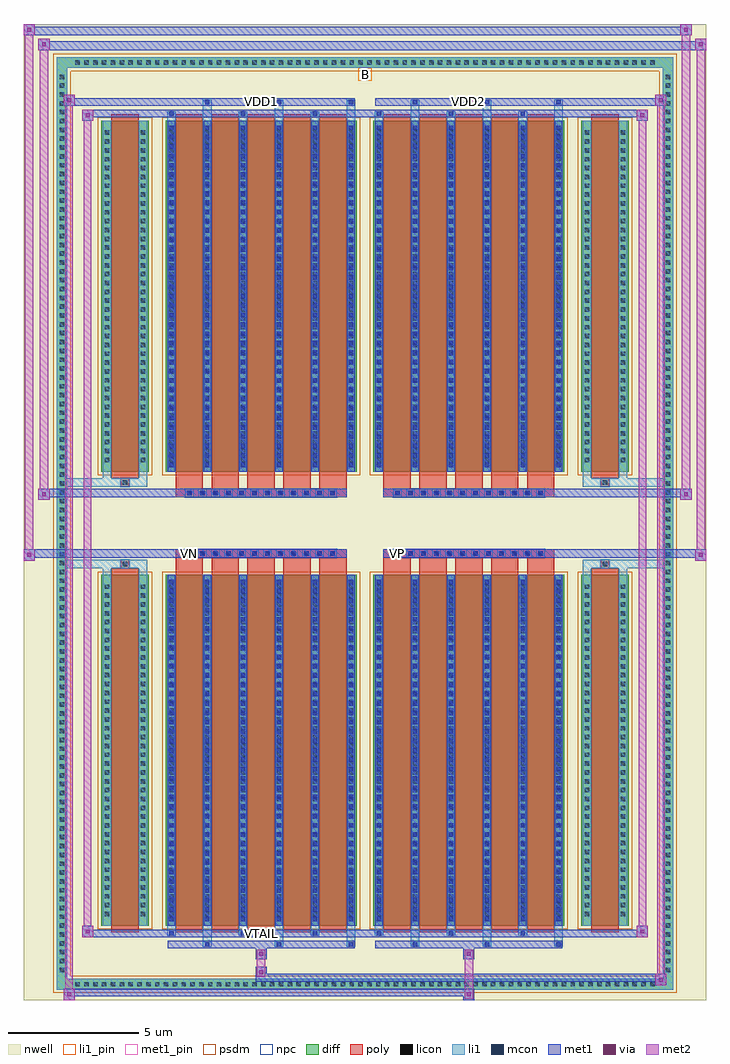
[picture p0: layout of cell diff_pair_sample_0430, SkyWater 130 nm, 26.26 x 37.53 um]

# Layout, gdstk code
import gdstk
lib = gdstk.Library(unit=1e-6, precision=5e-09)
def R(c, l, rs):  # rectangles x0, y0, x1, y1
    for r in rs: c.add(gdstk.rectangle(r[:2], r[2:], *l))
def A(c, l, x, y, w, h, nx, ny, dx, dy):  # array of equal rectangles
    R(c, l, [(x+i*dx, y+j*dy, x+i*dx+w, y+j*dy+h) for i in range(nx) for j in range(ny)])
def P(c, l, *ps):  # polygons
    for p in ps: c.add(gdstk.Polygon(p, *l))
nwell = (64, 20)
diff = (65, 20)
poly = (66, 20)
licon = (66, 44)
li1_pin = (67, 16)
li1 = (67, 20)
mcon = (67, 44)
met1_pin = (68, 16)
met1 = (68, 20)
via = (68, 44)
met2 = (69, 20)
psdm = (94, 20)
npc = (95, 20)

diff_pair_sample_0430 = lib.new_cell('diff_pair_sample_0430')
R(diff_pair_sample_0430, nwell, [(-13.13,-18.33,13.13,19.2), (-10.45,-16.52,-0.01,-0.8), (0.01,-16.52,10.45,-0.8), (-10.45,0.8,-0.01,16.52), (0.01,0.8,10.45,16.52)])
A(diff_pair_sample_0430, diff, -11.255, -17.93, 0.41, 0.41, 66, 2, 0.34, 35.45)
A(diff_pair_sample_0430, diff, -11.86, -17.375, 0.41, 0.41, 1, 102, 0, 0.34)
A(diff_pair_sample_0430, diff, 11.45, -17.375, 0.41, 0.41, 1, 102, 0, 0.34)
R(diff_pair_sample_0430, diff, [(-11.255,-17.93,11.255,-17.52), (-11.86,-17.375,-11.45,17.375), (11.45,-17.375,11.86,17.375), (-10.14,-15.475,-8.31,-1.985), (-7.67,-15.475,-0.32,-1.985), (0.32,-15.475,7.67,-1.985), (8.31,-15.475,10.14,-1.985), (-10.14,1.985,-8.31,15.475), (-7.67,1.985,-0.32,15.475), (0.32,1.985,7.67,15.475), (8.31,1.985,10.14,15.475), (-11.255,17.52,11.255,17.93)])
P(diff_pair_sample_0430, diff, [(11.86,17.93),(-11.86,17.93),(-11.86,-17.52),(-11.45,-17.52),(-11.45,17.52),(11.45,17.52),(11.45,-17.52),(-11.45,-17.52),(-11.86,-17.52),(-11.86,-17.93),(11.86,-17.93)])
A(diff_pair_sample_0430, poly, -7.28, -15.725, 1.05, 13.99, 5, 2, 1.38, 17.46)
A(diff_pair_sample_0430, poly, 0.71, -15.725, 1.05, 13.99, 5, 2, 1.38, 17.46)
A(diff_pair_sample_0430, poly, -7.28, -1.735, 1.05, 0.405, 5, 2, 1.38, 3.065)
A(diff_pair_sample_0430, poly, 0.71, -1.735, 1.05, 0.405, 5, 2, 1.38, 3.065)
A(diff_pair_sample_0430, poly, -6.91, -1.33, 0.33, 0.33, 12, 2, 0.5, 2.33)
A(diff_pair_sample_0430, poly, 1.08, -1.33, 0.33, 0.33, 12, 2, 0.5, 2.33)
R(diff_pair_sample_0430, poly, [(-9.75,-15.725,-8.7,-1.735), (8.7,-15.725,9.75,-1.735), (-9.39,-1.735,-9.06,-1.405), (-9.39,-1.735,-9.06,-1.405), (9.06,-1.735,9.39,-1.405), (9.06,-1.735,9.39,-1.405), (-7.28,-1.33,-0.71,-1), (0.71,-1.33,7.28,-1), (-7.28,1,-0.71,1.33), (0.71,1,7.28,1.33), (-9.39,1.405,-9.06,1.735), (-9.39,1.405,-9.06,1.735), (9.06,1.405,9.39,1.735), (9.06,1.405,9.39,1.735), (-9.75,1.735,-8.7,15.725), (8.7,1.735,9.75,15.725)])
A(diff_pair_sample_0430, licon, -11.135, -17.81, 0.17, 0.17, 66, 2, 0.34, 35.45)
A(diff_pair_sample_0430, licon, -11.74, -17.255, 0.17, 0.17, 1, 102, 0, 0.34)
A(diff_pair_sample_0430, licon, 11.57, -17.255, 0.17, 0.17, 1, 102, 0, 0.34)
A(diff_pair_sample_0430, licon, -10, -15.105, 0.17, 0.17, 1, 38, 0, 0.34)
A(diff_pair_sample_0430, licon, -8.62, -15.105, 0.17, 0.17, 1, 38, 0, 0.34)
A(diff_pair_sample_0430, licon, -7.53, -15.105, 0.17, 0.17, 6, 38, 1.38, 0.34)
A(diff_pair_sample_0430, licon, 0.46, -15.105, 0.17, 0.17, 6, 38, 1.38, 0.34)
A(diff_pair_sample_0430, licon, 8.45, -15.105, 0.17, 0.17, 1, 38, 0, 0.34)
A(diff_pair_sample_0430, licon, 9.83, -15.105, 0.17, 0.17, 1, 38, 0, 0.34)
A(diff_pair_sample_0430, licon, -6.83, -1.25, 0.17, 0.17, 12, 2, 0.5, 2.33)
A(diff_pair_sample_0430, licon, 1.16, -1.25, 0.17, 0.17, 12, 2, 0.5, 2.33)
A(diff_pair_sample_0430, licon, -10, 2.355, 0.17, 0.17, 1, 38, 0, 0.34)
A(diff_pair_sample_0430, licon, -8.62, 2.355, 0.17, 0.17, 1, 38, 0, 0.34)
A(diff_pair_sample_0430, licon, -7.53, 2.355, 0.17, 0.17, 6, 38, 1.38, 0.34)
A(diff_pair_sample_0430, licon, 0.46, 2.355, 0.17, 0.17, 6, 38, 1.38, 0.34)
A(diff_pair_sample_0430, licon, 8.45, 2.355, 0.17, 0.17, 1, 38, 0, 0.34)
A(diff_pair_sample_0430, licon, 9.83, 2.355, 0.17, 0.17, 1, 38, 0, 0.34)
R(diff_pair_sample_0430, licon, [(-9.31,-1.655,-9.14,-1.485), (9.14,-1.655,9.31,-1.485), (-9.31,1.485,-9.14,1.655), (9.14,1.485,9.31,1.655)])
R(diff_pair_sample_0430, li1_pin, [(-0.25,17.02,0.25,17.52)])
A(diff_pair_sample_0430, li1, -11.215, -17.89, 0.33, 0.33, 66, 2, 0.34, 35.45)
A(diff_pair_sample_0430, li1, -11.82, -17.335, 0.33, 0.33, 1, 102, 0, 0.34)
A(diff_pair_sample_0430, li1, 11.49, -17.335, 0.33, 0.33, 1, 102, 0, 0.34)
A(diff_pair_sample_0430, li1, -6.23, -16.28, 0.33, 0.805, 3, 2, 2.76, 31.755)
A(diff_pair_sample_0430, li1, -6.15, -16.28, 0.17, 0.17, 3, 2, 2.76, 32.39)
A(diff_pair_sample_0430, li1, 1.76, -16.28, 0.33, 0.805, 3, 2, 2.76, 31.755)
A(diff_pair_sample_0430, li1, 1.84, -16.28, 0.17, 0.17, 3, 2, 2.76, 32.39)
A(diff_pair_sample_0430, li1, -7.61, -15.85, 0.33, 0.375, 3, 2, 2.76, 31.325)
A(diff_pair_sample_0430, li1, -7.53, -15.85, 0.17, 0.17, 3, 2, 2.76, 31.53)
A(diff_pair_sample_0430, li1, 0.38, -15.85, 0.33, 0.375, 3, 2, 2.76, 31.325)
A(diff_pair_sample_0430, li1, 0.46, -15.85, 0.17, 0.17, 3, 2, 2.76, 31.53)
A(diff_pair_sample_0430, li1, -7.61, -15.475, 0.33, 13.49, 6, 2, 1.38, 17.46)
A(diff_pair_sample_0430, li1, 0.38, -15.475, 0.33, 13.49, 6, 2, 1.38, 17.46)
A(diff_pair_sample_0430, li1, -7.53, -15.295, 0.17, 0.17, 6, 37, 1.38, 0.36)
A(diff_pair_sample_0430, li1, -7.53, -15.295, 0.17, 13.13, 6, 2, 1.38, 17.46)
A(diff_pair_sample_0430, li1, 0.46, -15.295, 0.17, 0.17, 6, 37, 1.38, 0.36)
A(diff_pair_sample_0430, li1, 0.46, -15.295, 0.17, 13.13, 6, 2, 1.38, 17.46)
A(diff_pair_sample_0430, li1, -10.08, -15.185, 0.33, 0.33, 1, 38, 0, 0.34)
A(diff_pair_sample_0430, li1, -8.7, -15.185, 0.33, 0.33, 1, 38, 0, 0.34)
A(diff_pair_sample_0430, li1, -7.61, -15.185, 0.33, 0.33, 6, 38, 1.38, 0.34)
A(diff_pair_sample_0430, li1, 0.38, -15.185, 0.33, 0.33, 6, 38, 1.38, 0.34)
A(diff_pair_sample_0430, li1, 8.37, -15.185, 0.33, 0.33, 1, 38, 0, 0.34)
A(diff_pair_sample_0430, li1, 9.75, -15.185, 0.33, 0.33, 1, 38, 0, 0.34)
A(diff_pair_sample_0430, li1, -6.91, -1.33, 0.33, 0.33, 12, 2, 0.5, 2.33)
A(diff_pair_sample_0430, li1, 1.08, -1.33, 0.33, 0.33, 12, 2, 0.5, 2.33)
A(diff_pair_sample_0430, li1, -7.53, 2.165, 0.17, 0.17, 6, 37, 1.38, 0.36)
A(diff_pair_sample_0430, li1, 0.46, 2.165, 0.17, 0.17, 6, 37, 1.38, 0.36)
A(diff_pair_sample_0430, li1, -10.08, 2.275, 0.33, 0.33, 1, 38, 0, 0.34)
A(diff_pair_sample_0430, li1, -8.7, 2.275, 0.33, 0.33, 1, 38, 0, 0.34)
A(diff_pair_sample_0430, li1, -7.61, 2.275, 0.33, 0.33, 6, 38, 1.38, 0.34)
A(diff_pair_sample_0430, li1, 0.38, 2.275, 0.33, 0.33, 6, 38, 1.38, 0.34)
A(diff_pair_sample_0430, li1, 8.37, 2.275, 0.33, 0.33, 1, 38, 0, 0.34)
A(diff_pair_sample_0430, li1, 9.75, 2.275, 0.33, 0.33, 1, 38, 0, 0.34)
R(diff_pair_sample_0430, li1, [(-11.86,-17.93,-11.45,-17.52), (-11.86,-17.93,-11.45,-17.52), (-11.45,-17.93,11.45,-17.52), (11.45,-17.93,11.86,-17.52), (11.45,-17.93,11.86,-17.52), (-11.86,-17.52,-11.45,17.52), (11.45,-17.52,11.86,17.52), (-10.08,-15.475,-9.75,-1.985), (-8.7,-15.475,-8.37,-1.985), (8.37,-15.475,8.7,-1.985), (9.75,-15.475,10.08,-1.985), (-10.08,-1.985,-9.75,-1.405), (-8.7,-1.985,-8.37,-1.405), (8.37,-1.985,8.7,-1.405), (9.75,-1.985,10.08,-1.405), (-11.86,-1.735,-9.39,-1.405), (-10.08,-1.735,-9.39,-1.405), (-9.39,-1.735,-9.06,-1.405), (-9.06,-1.735,-8.37,-1.405), (8.37,-1.735,9.06,-1.405), (9.06,-1.735,9.39,-1.405), (9.06,-1.735,11.86,-1.405), (9.39,-1.735,10.08,-1.405), (-11.86,1.405,-9.39,1.735), (-10.08,1.405,-9.39,1.735), (-10.08,1.405,-9.75,1.985), (-9.39,1.405,-9.06,1.735), (-9.06,1.405,-8.37,1.735), (-8.7,1.405,-8.37,1.985), (8.37,1.405,9.06,1.735), (8.37,1.405,8.7,1.985), (9.06,1.405,9.39,1.735), (9.06,1.405,11.86,1.735), (9.39,1.405,10.08,1.735), (9.75,1.405,10.08,1.985), (-10.08,1.985,-9.75,15.475), (-8.7,1.985,-8.37,15.475), (8.37,1.985,8.7,15.475), (9.75,1.985,10.08,15.475), (-11.86,17.52,-11.45,17.93), (-11.86,17.52,-11.45,17.93), (-11.45,17.52,11.45,17.93), (11.45,17.52,11.86,17.93), (11.45,17.52,11.86,17.93)])
A(diff_pair_sample_0430, mcon, -6.15, -16.28, 0.17, 0.17, 3, 2, 2.76, 32.39)
A(diff_pair_sample_0430, mcon, 1.84, -16.28, 0.17, 0.17, 3, 2, 2.76, 32.39)
A(diff_pair_sample_0430, mcon, -7.53, -15.85, 0.17, 0.17, 3, 2, 2.76, 31.53)
A(diff_pair_sample_0430, mcon, 0.46, -15.85, 0.17, 0.17, 3, 2, 2.76, 31.53)
A(diff_pair_sample_0430, mcon, -7.53, -15.295, 0.17, 0.17, 6, 37, 1.38, 0.36)
A(diff_pair_sample_0430, mcon, 0.46, -15.295, 0.17, 0.17, 6, 37, 1.38, 0.36)
A(diff_pair_sample_0430, mcon, -6.83, -1.25, 0.17, 0.17, 12, 2, 0.5, 2.33)
A(diff_pair_sample_0430, mcon, 1.16, -1.25, 0.17, 0.17, 12, 2, 0.5, 2.33)
A(diff_pair_sample_0430, mcon, -7.53, 2.165, 0.17, 0.17, 6, 37, 1.38, 0.36)
A(diff_pair_sample_0430, mcon, 0.46, 2.165, 0.17, 0.17, 6, 37, 1.38, 0.36)
R(diff_pair_sample_0430, met1_pin, [(-4.13,-15.89,-3.86,-15.62), (-6.88,-1.29,-6.61,-1.02), (1.11,-1.29,1.38,-1.02), (-4.13,16.07,-3.86,16.34), (3.86,16.07,4.13,16.34)])
A(diff_pair_sample_0430, met1, -6.21, -16.34, 0.29, 0.29, 3, 2, 2.76, 32.39)
A(diff_pair_sample_0430, met1, 1.78, -16.34, 0.29, 0.29, 3, 2, 2.76, 32.39)
A(diff_pair_sample_0430, met1, -7.59, -15.91, 0.29, 0.29, 3, 2, 2.76, 31.53)
A(diff_pair_sample_0430, met1, 0.4, -15.91, 0.29, 0.29, 3, 2, 2.76, 31.53)
A(diff_pair_sample_0430, met1, -7.59, -15.475, 0.29, 13.49, 6, 2, 1.38, 17.46)
A(diff_pair_sample_0430, met1, 0.4, -15.475, 0.29, 13.49, 6, 2, 1.38, 17.46)
A(diff_pair_sample_0430, met1, -7.59, -15.355, 0.29, 0.29, 6, 37, 1.38, 0.36)
A(diff_pair_sample_0430, met1, 0.4, -15.355, 0.29, 0.29, 6, 37, 1.38, 0.36)
A(diff_pair_sample_0430, met1, -6.89, -1.31, 0.29, 0.29, 12, 2, 0.5, 2.33)
A(diff_pair_sample_0430, met1, 1.1, -1.31, 0.29, 0.29, 12, 2, 0.5, 2.33)
A(diff_pair_sample_0430, met1, -7.59, 2.105, 0.29, 0.29, 6, 37, 1.38, 0.36)
A(diff_pair_sample_0430, met1, 0.4, 2.105, 0.29, 0.29, 6, 37, 1.38, 0.36)
R(diff_pair_sample_0430, met1, [(-11.59,-18.33,-11.16,-17.9), (3.78,-18.33,4.21,-17.9), (-11.59,-18.19,4.21,-17.9), (11.16,-17.76,11.59,-17.33), (-4.21,-17.62,11.59,-17.33), (-4.21,-17.48,-3.78,-17.05), (-4.21,-16.77,-3.78,-16.34), (3.78,-16.77,4.21,-16.34), (-7.59,-16.34,-0.4,-16.05), (0.4,-16.34,7.59,-16.05), (-10.88,-15.91,-10.45,-15.48), (-10.88,-15.91,-7.59,-15.62), (-7.59,-15.91,-0.4,-15.62), (-0.4,-15.91,0.4,-15.62), (0.4,-15.91,7.59,-15.62), (7.59,-15.91,10.88,-15.62), (10.45,-15.91,10.88,-15.48), (-13.13,-1.43,-12.7,-1), (12.7,-1.43,13.13,-1), (-13.13,-1.33,-0.71,-1), (-7.28,-1.33,-0.71,-1), (0.71,-1.33,7.28,-1), (0.71,-1.33,13.13,-1), (-12.56,0.9,-12.13,1.33), (12.13,0.9,12.56,1.33), (-12.56,1,-7.28,1.33), (-7.28,1,-0.71,1.33), (0.71,1,7.28,1.33), (7.28,1,12.56,1.33), (-10.88,15.48,-10.45,15.91), (10.45,15.48,10.88,15.91), (-10.88,15.62,-7.59,15.91), (-7.59,15.62,-0.4,15.91), (-0.4,15.62,0.4,15.91), (0.4,15.62,7.59,15.91), (7.59,15.62,10.88,15.91), (-11.59,16.05,-11.16,16.48), (-11.59,16.05,-7.59,16.34), (-7.59,16.05,-0.4,16.34), (0.4,16.05,7.59,16.34), (7.59,16.05,11.59,16.34), (11.16,16.05,11.59,16.48), (-12.56,18.2,-12.13,18.63), (-12.56,18.2,-10.45,18.53), (-10.45,18.2,10.45,18.53), (10.45,18.2,13.13,18.53), (12.7,18.2,13.13,18.63), (-13.13,18.77,-12.7,19.2), (-13.13,18.77,-10.45,19.1), (-10.45,18.77,10.45,19.1), (10.45,18.77,12.56,19.1), (12.13,18.77,12.56,19.2)])
R(diff_pair_sample_0430, via, [(-11.45,-18.19,-11.3,-18.04), (3.92,-18.19,4.07,-18.04), (11.3,-17.62,11.45,-17.47), (-4.07,-17.34,-3.92,-17.19), (-4.07,-16.63,-3.92,-16.48), (3.92,-16.63,4.07,-16.48), (-10.74,-15.77,-10.59,-15.62), (10.59,-15.77,10.74,-15.62), (-12.99,-1.29,-12.84,-1.14), (12.84,-1.29,12.99,-1.14), (-12.42,1.04,-12.27,1.19), (12.27,1.04,12.42,1.19), (-10.74,15.62,-10.59,15.77), (10.59,15.62,10.74,15.77), (-11.45,16.19,-11.3,16.34), (11.3,16.19,11.45,16.34), (-12.42,18.34,-12.27,18.49), (12.84,18.34,12.99,18.49), (-12.99,18.91,-12.84,19.06), (12.27,18.91,12.42,19.06)])
R(diff_pair_sample_0430, met2, [(-11.59,-18.33,-11.16,-17.9), (-11.52,-18.33,-11.23,16.48), (-11.23,-18.33,-11.16,-17.9), (-11.54,-18.28,-11.21,-17.95), (3.83,-18.28,4.16,-17.95), (3.83,-17.95,4.16,-16.72), (11.16,-17.76,11.59,-17.33), (11.23,-17.76,11.52,16.48), (11.52,-17.76,11.59,-17.33), (11.21,-17.71,11.54,-17.38), (-4.16,-17.43,-3.83,-17.1), (-4.16,-17.1,-3.83,-16.72), (-4.16,-16.72,-3.83,-16.39), (3.83,-16.72,4.16,-16.39), (-10.88,-15.91,-10.45,-15.48), (-10.81,-15.91,-10.52,15.91), (-10.52,-15.91,-10.45,-15.48), (10.45,-15.91,10.88,-15.48), (10.52,-15.91,10.81,15.91), (10.81,-15.91,10.88,-15.48), (-10.83,-15.86,-10.5,-15.53), (10.5,-15.86,10.83,-15.53), (-13.13,-1.43,-12.7,-1), (-13.08,-1.43,-12.75,19.2), (-12.75,-1.43,-12.7,-1), (12.7,-1.43,13.13,-1), (12.75,-1.43,13.08,18.63), (13.08,-1.43,13.13,-1), (-13.08,-1.38,-12.75,-1.05), (12.75,-1.38,13.08,-1.05), (-12.56,0.9,-12.13,1.33), (-12.51,0.9,-12.18,18.63), (-12.18,0.9,-12.13,1.33), (12.13,0.9,12.56,1.33), (12.18,0.9,12.51,19.2), (12.51,0.9,12.56,1.33), (-12.51,0.95,-12.18,1.28), (12.18,0.95,12.51,1.28), (-10.88,15.48,-10.45,15.91), (-10.52,15.48,-10.45,15.91), (10.45,15.48,10.88,15.91), (10.81,15.48,10.88,15.91), (-10.83,15.53,-10.5,15.86), (10.5,15.53,10.83,15.86), (-11.59,16.05,-11.16,16.48), (-11.23,16.05,-11.16,16.48), (11.16,16.05,11.59,16.48), (11.52,16.05,11.59,16.48), (-11.54,16.1,-11.21,16.43), (11.21,16.1,11.54,16.43), (-12.56,18.2,-12.13,18.63), (-12.18,18.2,-12.13,18.63), (12.7,18.2,13.13,18.63), (13.08,18.2,13.13,18.63), (-12.51,18.25,-12.18,18.58), (12.75,18.25,13.08,18.58), (-13.13,18.77,-12.7,19.2), (-12.75,18.77,-12.7,19.2), (12.13,18.77,12.56,19.2), (12.51,18.77,12.56,19.2), (-13.08,18.82,-12.75,19.15), (12.18,18.82,12.51,19.15)])
R(diff_pair_sample_0430, psdm, [(-10.27,-15.605,-8.18,-1.855), (-7.8,-15.605,-0.19,-1.855), (0.19,-15.605,7.8,-1.855), (8.18,-15.605,10.27,-1.855), (-10.27,1.855,-8.18,15.605), (-7.8,1.855,-0.19,15.605), (0.19,1.855,7.8,15.605), (8.18,1.855,10.27,15.605)])
P(diff_pair_sample_0430, psdm, [(11.99,18.06),(-11.99,18.06),(-11.99,-17.39),(-11.32,-17.39),(-11.32,17.39),(11.32,17.39),(11.32,-17.39),(-11.32,-17.39),(-11.99,-17.39),(-11.99,-18.06),(11.99,-18.06)])
A(diff_pair_sample_0430, npc, -6.93, -1.35, 0.37, 0.37, 12, 2, 0.5, 2.33)
A(diff_pair_sample_0430, npc, 1.06, -1.35, 0.37, 0.37, 12, 2, 0.5, 2.33)
R(diff_pair_sample_0430, npc, [(-9.41,-1.755,-9.04,-1.385), (9.04,-1.755,9.41,-1.385), (-6.93,-1.35,-6.06,-0.98), (-6.93,-1.35,-6.06,-0.98), (-6.43,-1.35,-5.56,-0.98), (-6.43,-1.35,-5.56,-0.98), (-5.93,-1.35,-5.06,-0.98), (-5.93,-1.35,-5.06,-0.98), (-5.43,-1.35,-4.56,-0.98), (-5.43,-1.35,-4.56,-0.98), (-4.93,-1.35,-4.06,-0.98), (-4.93,-1.35,-4.06,-0.98), (-4.43,-1.35,-3.56,-0.98), (-4.43,-1.35,-3.56,-0.98), (-3.93,-1.35,-3.06,-0.98), (-3.93,-1.35,-3.06,-0.98), (-3.43,-1.35,-2.56,-0.98), (-3.43,-1.35,-2.56,-0.98), (-2.93,-1.35,-2.06,-0.98), (-2.93,-1.35,-2.06,-0.98), (-2.43,-1.35,-1.56,-0.98), (-2.43,-1.35,-1.56,-0.98), (-1.93,-1.35,-1.06,-0.98), (-1.93,-1.35,-1.06,-0.98), (1.06,-1.35,1.93,-0.98), (1.06,-1.35,1.93,-0.98), (1.56,-1.35,2.43,-0.98), (1.56,-1.35,2.43,-0.98), (2.06,-1.35,2.93,-0.98), (2.06,-1.35,2.93,-0.98), (2.56,-1.35,3.43,-0.98), (2.56,-1.35,3.43,-0.98), (3.06,-1.35,3.93,-0.98), (3.06,-1.35,3.93,-0.98), (3.56,-1.35,4.43,-0.98), (3.56,-1.35,4.43,-0.98), (4.06,-1.35,4.93,-0.98), (4.06,-1.35,4.93,-0.98), (4.56,-1.35,5.43,-0.98), (4.56,-1.35,5.43,-0.98), (5.06,-1.35,5.93,-0.98), (5.06,-1.35,5.93,-0.98), (5.56,-1.35,6.43,-0.98), (5.56,-1.35,6.43,-0.98), (6.06,-1.35,6.93,-0.98), (6.06,-1.35,6.93,-0.98), (-6.93,0.98,-6.06,1.35), (-6.93,0.98,-6.06,1.35), (-6.43,0.98,-5.56,1.35), (-6.43,0.98,-5.56,1.35), (-5.93,0.98,-5.06,1.35), (-5.93,0.98,-5.06,1.35), (-5.43,0.98,-4.56,1.35), (-5.43,0.98,-4.56,1.35), (-4.93,0.98,-4.06,1.35), (-4.93,0.98,-4.06,1.35), (-4.43,0.98,-3.56,1.35), (-4.43,0.98,-3.56,1.35), (-3.93,0.98,-3.06,1.35), (-3.93,0.98,-3.06,1.35), (-3.43,0.98,-2.56,1.35), (-3.43,0.98,-2.56,1.35), (-2.93,0.98,-2.06,1.35), (-2.93,0.98,-2.06,1.35), (-2.43,0.98,-1.56,1.35), (-2.43,0.98,-1.56,1.35), (-1.93,0.98,-1.06,1.35), (-1.93,0.98,-1.06,1.35), (1.06,0.98,1.93,1.35), (1.06,0.98,1.93,1.35), (1.56,0.98,2.43,1.35), (1.56,0.98,2.43,1.35), (2.06,0.98,2.93,1.35), (2.06,0.98,2.93,1.35), (2.56,0.98,3.43,1.35), (2.56,0.98,3.43,1.35), (3.06,0.98,3.93,1.35), (3.06,0.98,3.93,1.35), (3.56,0.98,4.43,1.35), (3.56,0.98,4.43,1.35), (4.06,0.98,4.93,1.35), (4.06,0.98,4.93,1.35), (4.56,0.98,5.43,1.35), (4.56,0.98,5.43,1.35), (5.06,0.98,5.93,1.35), (5.06,0.98,5.93,1.35), (5.56,0.98,6.43,1.35), (5.56,0.98,6.43,1.35), (6.06,0.98,6.93,1.35), (6.06,0.98,6.93,1.35), (-9.41,1.385,-9.04,1.755), (9.04,1.385,9.41,1.755)])
diff_pair_sample_0430.add(gdstk.Label('VTAIL', (-3.995,-15.755), layer=68, texttype=5))
diff_pair_sample_0430.add(gdstk.Label('VN', (-6.745,-1.155), layer=68, texttype=5))
diff_pair_sample_0430.add(gdstk.Label('VP', (1.245,-1.155), layer=68, texttype=5))
diff_pair_sample_0430.add(gdstk.Label('B', (0,17.27), layer=67, texttype=5))
diff_pair_sample_0430.add(gdstk.Label('VDD2', (3.995,16.205), layer=68, texttype=5))
diff_pair_sample_0430.add(gdstk.Label('VDD1', (-3.995,16.205), layer=68, texttype=5))

lib.write_gds('diff_pair_sample_0430.gds')
